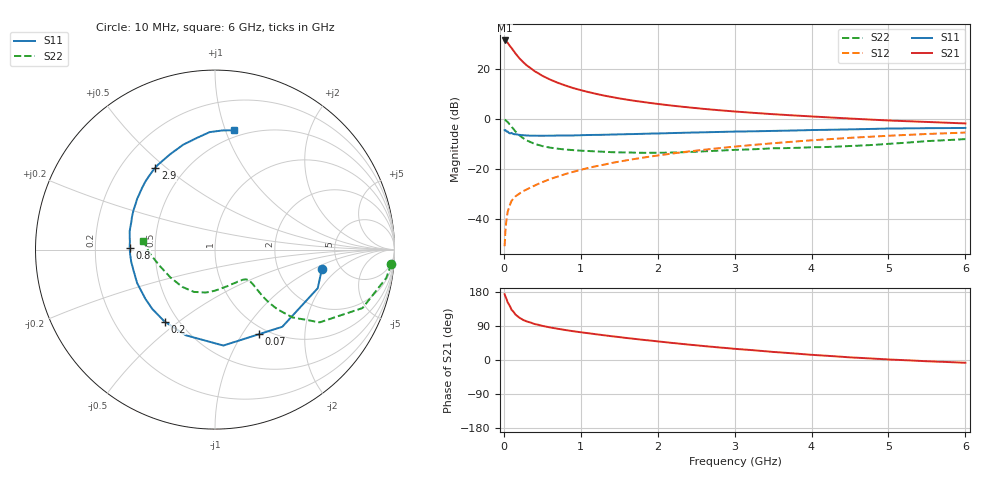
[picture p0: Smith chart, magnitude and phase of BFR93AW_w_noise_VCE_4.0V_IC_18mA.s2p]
! Infineon Technologies  Discrete & RF Semiconductors
! BFR93AW
! VCE =  4.0 V,  IC =  18 mA
! Common Emitter S-Parameters:  Jan 2017
# GHz  S  MA  R  50
!  f  S11  S21  S12  S22
! GHz  MAG  ANG  MAG  ANG  MAG  ANG  MAG  ANG
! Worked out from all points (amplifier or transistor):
!   77 points, 10 MHz to 6 GHz, reference 50 ohm
!   highest |S21| = 31.6 dB at 10 MHz (marker M1)
!   |S21| within 3 dB of that: start of sweep to 99.35 MHz
!   unconditionally stable (mu >= 1): 676.2 MHz to 2.095 GHz
!   at 130 MHz: K = 0.43, MSG = 29.4 dB, |S12| = -31.5 dB
!   at 2.2 GHz: K = 0.99, MSG = 9.5 dB, |S12| = -13.6 dB
!   at 6 GHz: K = 0.88, MSG = 1.8 dB, |S12| = -5.3 dB
!   lowest NFmin = 1.47 dB at 450 MHz
!   S11 on the Smith chart (normalised r, x): 10 MHz: 3.61, -1.24; 70 MHz: 0.90, -1.19; 200 MHz: 0.42, -0.45; 800 MHz: 0.36, +0.01; 2.9 GHz: 0.34, +0.46; 6 GHz: 0.44, +1.07
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0.01  0.6053 -10.4  37.87 173.8  0.0029 85.2  0.9855 -4.6
0.02  0.6115 -20.6  37.82 168.2  0.0057 83.3  0.9673 -9.4
0.05  0.5706 -48.9  33.99 152.1  0.0141 68.6  0.8842 -21.6
0.07  0.531 -62.7  30.68 145.4  0.0178 64.5  0.8097 -26.2
0.1  0.5365 -85.0  26.74 132.6  0.0234 60.7  0.7102 -34.8
0.15  0.5043 -108.8  20.91 120.2  0.0286 56.1  0.5737 -41.2
0.2  0.4897 -125.0  16.82 111.9  0.0325 55.6  0.4819 -43.7
0.25  0.4811 -136.6  14.01 105.8  0.0366 55.7  0.4205 -44.5
0.3  0.475 -144.7  11.92 101.6  0.0397 56.9  0.3762 -44.4
0.4  0.4723 -156.7  9.191 94.9  0.0473 60.4  0.3228 -43.5
0.5  0.4685 -165.1  7.437 90.1  0.0553 62.2  0.2916 -42.6
0.6  0.4717 -171.5  6.265 86.0  0.0639 63.8  0.2719 -42.2
0.8  0.4758 178.8  4.754 79.1  0.0804 66.6  0.2489 -42.5
0.9  0.4763 174.7  4.233 76.0  0.0889 66.6  0.2422 -43.4
1.1  0.4863 167.8  3.512 70.6  0.1069 67.6  0.2324 -46.0
1.5  0.5004 156.5  2.625 60.5  0.1427 66.9  0.2183 -54.7
2.1  0.5264 142.1  1.951 47.0  0.1985 63.5  0.2154 -73.7
2.9  0.564 126.2  1.478 31.4  0.2748 57.2  0.2407 -99.7
3.1  0.5716 122.4  1.4 28.0  0.294 55.3  0.2474 -105.5
4.1  0.6137 105.4  1.121 12.4  0.3897 45.2  0.2776 -134.8
5.1  0.6567 91.3  0.936 0.5  0.477 33.9  0.3305 -167.2
6  0.673 80.8  0.828 -7.3  0.544 23.6  0.4025 172.8
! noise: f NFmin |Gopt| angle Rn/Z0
0.45  1.47  0.13  155  0.14
0.9  1.74  0.23  172  0.15
1.9  2.74  0.47  -140  0.22
2.4  3.36  0.54  -127  0.43
